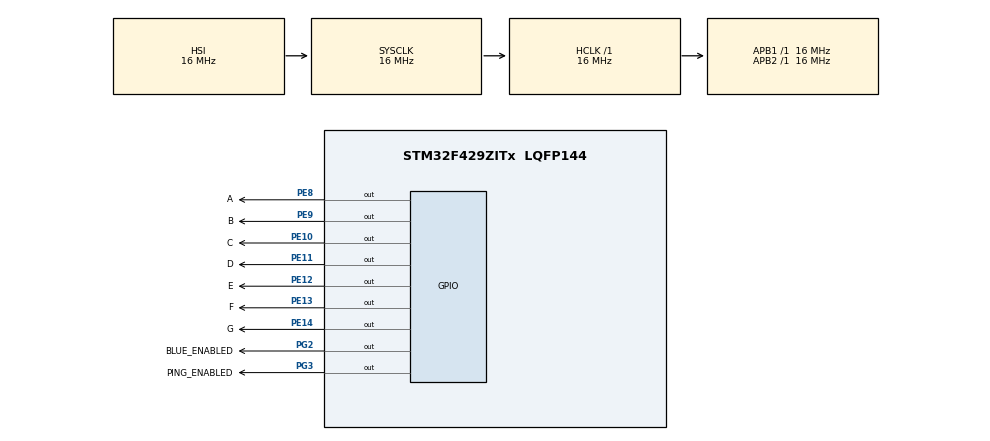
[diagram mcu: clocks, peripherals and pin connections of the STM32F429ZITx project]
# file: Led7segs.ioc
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Mcu.Family=STM32F4
Mcu.Name=STM32F429ZITx
Mcu.Package=LQFP144
NVIC.PriorityGroup=NVIC_PRIORITYGROUP_4
PE10.GPIO_Label=C
PE10.Signal=GPIO_Output
PE11.GPIO_Label=D
PE11.Signal=GPIO_Output
PE12.GPIO_Label=E
PE12.Signal=GPIO_Output
PE13.GPIO_Label=F
PE13.Signal=GPIO_Output
PE14.GPIO_Label=G
PE14.Signal=GPIO_Output
PE8.GPIO_Label=A
PE8.Signal=GPIO_Output
PE9.GPIO_Label=B
PE9.Signal=GPIO_Output
PG2.GPIO_Label=BLUE_ENABLED
PG2.Signal=GPIO_Output
PG3.GPIO_Label=PING_ENABLED
PG3.Signal=GPIO_Output
ProjectManager.HeapSize=0x200
ProjectManager.StackSize=0x400
ProjectManager.TargetToolchain=STM32CubeIDE
RCC.AHBFreq_Value=16000000
RCC.APB1Freq_Value=16000000
RCC.APB2Freq_Value=16000000
RCC.CortexFreq_Value=16000000
RCC.HSE_VALUE=25000000
RCC.HSI_VALUE=16000000
RCC.LSE_VALUE=32768
RCC.SYSCLKFreq_VALUE=16000000
RCC.VCOOutputFreq_Value=192000000
board=custom

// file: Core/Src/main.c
/* USER CODE BEGIN Header */
/**
  ******************************************************************************
  * @file           : main.c
  * @brief          : Main program body
  ******************************************************************************
  * @attention
  *
  * Copyright (c) 2025 STMicroelectronics.
  * All rights reserved.
  *
  * This software is licensed under terms that can be found in the LICENSE file
  * in the root directory of this software component.
  * If no LICENSE file comes with this software, it is provided AS-IS.
  *
  ******************************************************************************
  */
/* USER CODE END Header */
#include "main.h"

/* USER CODE BEGIN Includes */
#include "7segdecoder.h"			//Giải mã led 7-seg
/* USER CODE END Includes */

/* USER CODE BEGIN PV */
/// Hàng đơn vị của số cần hiển thị, phạm vi [0..9]
unsigned char unit_num;
/// Hàng chục của số cần hiển thị, phạm vi [0..9]
unsigned char ten_num;
/* USER CODE END PV */

void SystemClock_Config(void);
static void MX_GPIO_Init(void);

/* USER CODE BEGIN 0 */
/**
 * @brief	Thiết lập giá trị hiển thị cho các đoạn trên led 7-seg,
 * @note    Cần tắt toàn bộ led 7-seg trước khi sử dụng hàm
 * @param[in]  val 	Giá trị cần hiển thị
 *
 */
void Setup7Seg(unsigned char val){
	/// Giá trị các chân 7 đoạn
	static bool a,b,c,d,e,f,g;

	  /// Chuyển thành số nguyên thành giá trị các thanh led 7 đoạn
	  NumberTo7seg(val, &a, &b, &c, &d, &e, &f, &g);

	  /// Tuần tự thiết lập tắt bật của từng đoạn led.
	  HAL_GPIO_WritePin(A_GPIO_Port, A_Pin, a);
	  HAL_GPIO_WritePin(B_GPIO_Port, B_Pin, b);
	  HAL_GPIO_WritePin(C_GPIO_Port, C_Pin, c);
	  HAL_GPIO_WritePin(D_GPIO_Port, D_Pin, d);
	  HAL_GPIO_WritePin(E_GPIO_Port, E_Pin, e);
	  HAL_GPIO_WritePin(F_GPIO_Port, F_Pin, f);
	  HAL_GPIO_WritePin(G_GPIO_Port, G_Pin, g);

}

/* USER CODE END 0 */

int main(void)
{

  /* MCU Configuration--------------------------------------------------------*/

  /* Reset of all peripherals, Initializes the Flash interface and the Systick. */
  HAL_Init();

  /* Configure the system clock */
  SystemClock_Config();

  /* Initialize all configured peripherals */
  MX_GPIO_Init();
  /* USER CODE BEGIN 2 */
  HAL_GPIO_WritePin(A_GPIO_Port, A_Pin, GPIO_PIN_SET);
  HAL_GPIO_WritePin(B_GPIO_Port, B_Pin, GPIO_PIN_SET);
  HAL_GPIO_WritePin(C_GPIO_Port, C_Pin, GPIO_PIN_SET);
  HAL_GPIO_WritePin(D_GPIO_Port, D_Pin, GPIO_PIN_SET);
  HAL_GPIO_WritePin(E_GPIO_Port, E_Pin, GPIO_PIN_SET);
  HAL_GPIO_WritePin(F_GPIO_Port, F_Pin, GPIO_PIN_RESET);
  HAL_GPIO_WritePin(G_GPIO_Port, G_Pin, GPIO_PIN_RESET);

  ///Cho phép led 7-seg màu Ping sáng, bằng cách đưa logic 1 vào chân Base của transistor 2N2222, làm cực cathod của đèn nối liền với GND, thông mạch.
  HAL_GPIO_WritePin(PING_ENABLED_GPIO_Port, PING_ENABLED_Pin, GPIO_PIN_SET);
  HAL_Delay(1000);
  HAL_GPIO_WritePin(BLUE_ENABLED_GPIO_Port, BLUE_ENABLED_Pin, GPIO_PIN_SET);
  HAL_Delay(1000);

  /* USER CODE END 2 */

  /* Infinite loop */
  /* USER CODE BEGIN WHILE */

  /// Giá trị đếm tăng dần để hiển thị, xoay vòng từ 0 --> 99.
  int count = 0;

  /// Giá trị đếm để quét hiển thị giữa 2 led 7 seg
  int scan_count = 0;

  while (1)
  {
	  /// Xác định giá trị cần hiển thị cho mỗi đèn led
	  unit_num = count % 10;
	  ten_num = (int)(count / 10);

	  {//-----------LED PING hiển thị------------------------
		  /// Bước 1. Tắt tất cả các led. Như vậy qua trình tắt/bật từng thanh led sẽ không bị nhìn thấy.
		  /// Lưu ý: Lệnh tắt này tác động lên cả 2 chân PING_ENABLED_Pin và BLUE_ENABLED_Pin cùng lúc, đòi hỏi cả 2 pin này phải cùng một Group Port.
		  HAL_GPIO_WritePin(PING_ENABLED_GPIO_Port, PING_ENABLED_Pin | BLUE_ENABLED_Pin, GPIO_PIN_RESET);

		  /// Bước 2: Chuẩn bị nội dung hiển thị trên 7 đoạn led 1
		  Setup7Seg(ten_num);

		  /// Bước 3. Chỉ bật đúng led 7-seg mong muôn
		  HAL_GPIO_WritePin(PING_ENABLED_GPIO_Port, PING_ENABLED_Pin, GPIO_PIN_SET);
	  }
	  HAL_Delay(5);
	  {//-----------LED BLUE hiển thị------------------------
		  /// Bước 1. Tắt tất cả các led. Như vậy qua trình tắt/bật từng thanh led sẽ không bị nhìn thấy.
		  /// Lưu ý: Lệnh tắt này tác động lên cả 2 chân PING_ENABLED_Pin và BLUE_ENABLED_Pin cùng lúc, đòi hỏi cả 2 pin này phải cùng một Group Port.
		  HAL_GPIO_WritePin(PING_ENABLED_GPIO_Port, PING_ENABLED_Pin | BLUE_ENABLED_Pin, GPIO_PIN_RESET);

		  /// Bước 2: Chuẩn bị nội dung hiển thị trên 7 đoạn led 2
		  Setup7Seg(unit_num);

		  /// Bước 3. Chỉ bật đúng led 7-seg mong muôn
		  HAL_GPIO_WritePin(BLUE_ENABLED_GPIO_Port, BLUE_ENABLED_Pin, GPIO_PIN_SET);
	  }
	  HAL_Delay(4);
	  ///Chuẩn bị cho bước tiếp theo. Đếm xoay vòng
	  scan_count++;
	  if (scan_count > 10) {		// Ước lượng để tạo chu kì tăng giá trị hiển thị dễ xem, quan sát.
		  scan_count = 0;
		  //Tăng và xoay vòng giá trị cần hiển thị
		  count++;
		  if (count > 99) {
			  count = 0;
		  }
	  }
    /* USER CODE END WHILE */

  }
}

void SystemClock_Config(void)
{
  RCC_OscInitTypeDef RCC_OscInitStruct = {0};
  RCC_ClkInitTypeDef RCC_ClkInitStruct = {0};

  /** Configure the main internal regulator output voltage
  */
  __HAL_RCC_PWR_CLK_ENABLE();
  __HAL_PWR_VOLTAGESCALING_CONFIG(PWR_REGULATOR_VOLTAGE_SCALE3);

  /** Initializes the RCC Oscillators according to the specified parameters
  * in the RCC_OscInitTypeDef structure.
  */
  RCC_OscInitStruct.OscillatorType = RCC_OSCILLATORTYPE_HSI;
  RCC_OscInitStruct.HSIState = RCC_HSI_ON;
  RCC_OscInitStruct.HSICalibrationValue = RCC_HSICALIBRATION_DEFAULT;
  RCC_OscInitStruct.PLL.PLLState = RCC_PLL_NONE;
  if (HAL_RCC_OscConfig(&RCC_OscInitStruct) != HAL_OK)
  {
    Error_Handler();
  }

  /** Initializes the CPU, AHB and APB buses clocks
  */
  RCC_ClkInitStruct.ClockType = RCC_CLOCKTYPE_HCLK|RCC_CLOCKTYPE_SYSCLK
                              |RCC_CLOCKTYPE_PCLK1|RCC_CLOCKTYPE_PCLK2;
  RCC_ClkInitStruct.SYSCLKSource = RCC_SYSCLKSOURCE_HSI;
  RCC_ClkInitStruct.AHBCLKDivider = RCC_SYSCLK_DIV1;
  RCC_ClkInitStruct.APB1CLKDivider = RCC_HCLK_DIV1;
  RCC_ClkInitStruct.APB2CLKDivider = RCC_HCLK_DIV1;

  if (HAL_RCC_ClockConfig(&RCC_ClkInitStruct, FLASH_LATENCY_0) != HAL_OK)
  {
    Error_Handler();
  }
}

static void MX_GPIO_Init(void)
{
  GPIO_InitTypeDef GPIO_InitStruct = {0};

  /* GPIO Ports Clock Enable */
  __HAL_RCC_GPIOE_CLK_ENABLE();
  __HAL_RCC_GPIOG_CLK_ENABLE();

  /*Configure GPIO pin Output Level */
  HAL_GPIO_WritePin(GPIOE, A_Pin|B_Pin|C_Pin|D_Pin
                          |E_Pin|F_Pin|G_Pin, GPIO_PIN_RESET);

  /*Configure GPIO pin Output Level */
  HAL_GPIO_WritePin(GPIOG, BLUE_ENABLED_Pin|PING_ENABLED_Pin, GPIO_PIN_RESET);

  /*Configure GPIO pins : A_Pin B_Pin C_Pin D_Pin
                           E_Pin F_Pin G_Pin */
  GPIO_InitStruct.Pin = A_Pin|B_Pin|C_Pin|D_Pin
                          |E_Pin|F_Pin|G_Pin;
  GPIO_InitStruct.Mode = GPIO_MODE_OUTPUT_PP;
  GPIO_InitStruct.Pull = GPIO_NOPULL;
  GPIO_InitStruct.Speed = GPIO_SPEED_FREQ_LOW;
  HAL_GPIO_Init(GPIOE, &GPIO_InitStruct);

  /*Configure GPIO pins : BLUE_ENABLED_Pin PING_ENABLED_Pin */
  GPIO_InitStruct.Pin = BLUE_ENABLED_Pin|PING_ENABLED_Pin;
  GPIO_InitStruct.Mode = GPIO_MODE_OUTPUT_PP;
  GPIO_InitStruct.Pull = GPIO_NOPULL;
  GPIO_InitStruct.Speed = GPIO_SPEED_FREQ_LOW;
  HAL_GPIO_Init(GPIOG, &GPIO_InitStruct);

}

void Error_Handler(void)
{
  __disable_irq();
  while (1)
  {
  }
}
